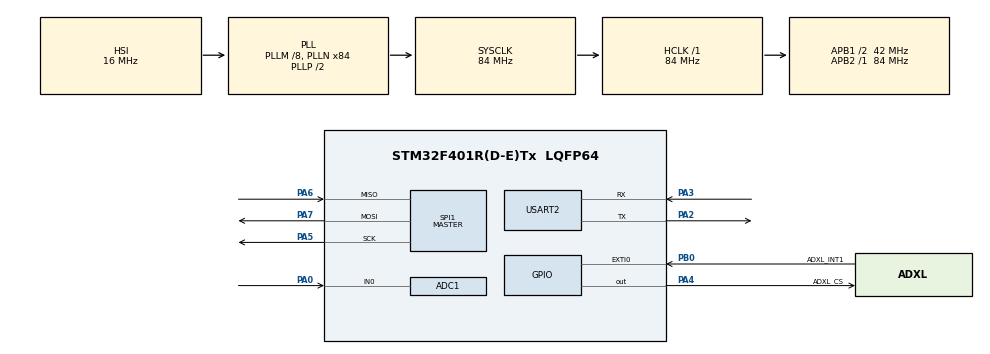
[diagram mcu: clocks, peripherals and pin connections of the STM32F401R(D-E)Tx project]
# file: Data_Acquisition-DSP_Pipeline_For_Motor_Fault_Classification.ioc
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ADC1.Channel-0\#ChannelRegularConversion=ADC_CHANNEL_0
ADC1.NbrOfConversionFlag=1
ADC1.Rank-0\#ChannelRegularConversion=1
ADC1.SamplingTime-0\#ChannelRegularConversion=ADC_SAMPLETIME_3CYCLES
ADC1.master=1
Mcu.Family=STM32F4
Mcu.Name=STM32F401R(D-E)Tx
Mcu.Package=LQFP64
NVIC.EXTI0_IRQn=true\:0\:0\:false\:false\:true\:true\:true\:true
NVIC.PriorityGroup=NVIC_PRIORITYGROUP_4
PA0-WKUP.Signal=ADCx_IN0
PA2.Mode=Asynchronous
PA2.Signal=USART2_TX
PA3.Mode=Asynchronous
PA3.Signal=USART2_RX
PA4.GPIO_Label=ADXL_CS
PA4.Signal=GPIO_Output
PA5.Mode=Full_Duplex_Master
PA5.Signal=SPI1_SCK
PA6.Mode=Full_Duplex_Master
PA6.Signal=SPI1_MISO
PA7.Mode=Full_Duplex_Master
PA7.Signal=SPI1_MOSI
PB0.GPIO_Label=ADXL_INT1
PB0.GPIO_PuPd=GPIO_PULLDOWN
PB0.Signal=GPXTI0
ProjectManager.HeapSize=0x200
ProjectManager.StackSize=0x400
ProjectManager.TargetToolchain=STM32CubeIDE
RCC.48MHZClocksFreq_Value=42000000
RCC.AHBFreq_Value=84000000
RCC.APB1CLKDivider=RCC_HCLK_DIV2
RCC.APB1Freq_Value=42000000
RCC.APB1TimFreq_Value=84000000
RCC.APB2Freq_Value=84000000
RCC.APB2TimFreq_Value=84000000
RCC.CortexFreq_Value=84000000
RCC.HCLKFreq_Value=84000000
RCC.HSE_VALUE=25000000
RCC.HSI_VALUE=16000000
RCC.LSE_VALUE=32768
RCC.PLLM=8
RCC.PLLN=84
RCC.SYSCLKFreq_VALUE=84000000
RCC.SYSCLKSource=RCC_SYSCLKSOURCE_PLLCLK
RCC.VCOOutputFreq_Value=168000000
SH.ADCx_IN0.0=ADC1_IN0,IN0
SPI1.BaudRatePrescaler=SPI_BAUDRATEPRESCALER_32
SPI1.CLKPhase=SPI_PHASE_2EDGE
SPI1.CLKPolarity=SPI_POLARITY_HIGH
SPI1.Direction=SPI_DIRECTION_2LINES
SPI1.Mode=SPI_MODE_MASTER
SPI1.VirtualType=VM_MASTER
USART2.VirtualMode=VM_ASYNC
board=custom

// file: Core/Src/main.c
/* USER CODE BEGIN Header */
/**
  ******************************************************************************
  * @file           : main.c
  * @brief          : Main program body
  ******************************************************************************
  * @attention
  *
  * Copyright (c) 2026 STMicroelectronics.
  * All rights reserved.
  *
  * This software is licensed under terms that can be found in the LICENSE file
  * in the root directory of this software component.
  * If no LICENSE file comes with this software, it is provided AS-IS.
  *
  ******************************************************************************
  */
/* USER CODE END Header */
#include "main.h"

/* USER CODE BEGIN Includes */
#include <stdio.h>
#include <stdbool.h>
#include <arm_math.h>
/* USER CODE END Includes */

/* USER CODE BEGIN PD */
#define CS_LOW() HAL_GPIO_WritePin(GPIOA, GPIO_PIN_4, GPIO_PIN_RESET)
#define CS_HIGH() HAL_GPIO_WritePin(GPIOA, GPIO_PIN_4, GPIO_PIN_SET)
/* USER CODE END PD */

ADC_HandleTypeDef hadc1;

SPI_HandleTypeDef hspi1;

UART_HandleTypeDef huart2;

/* USER CODE BEGIN PV */
#define BUFFER_SIZE 256

// Extracted features
float sensor_features[21];

// CMSIS DSP FFT Instance
arm_rfft_fast_instance_f32 fft_instance;

// Buffers for the DSP pipeline (using X-axis as our primary example)
float fft_input_buffer[BUFFER_SIZE];
float fft_output_buffer[BUFFER_SIZE];
float fft_magnitude_buffer[BUFFER_SIZE/2];

// Dual ping-pong buffers for X, Y, Z vibration data
float buffer_a[BUFFER_SIZE][4];
float buffer_b[BUFFER_SIZE][4];

volatile float(*write_ptr)[4] = buffer_a;  // ISR writes here
float (*processing_ptr)[4] = NULL;         // Main loop reads here

volatile uint16_t sample_index = 0;
volatile bool data_ready_flag = false;
volatile bool processing_buffer_full = false;

/* USER CODE END PV */

void SystemClock_Config(void);
static void MX_GPIO_Init(void);
static void MX_USART2_UART_Init(void);
static void MX_SPI1_Init(void);
static void MX_ADC1_Init(void);

/* USER CODE BEGIN 0 */
int _write(int file, char* ptr, int len){
	//Transmit the string over USART2 in blocking mode
	HAL_UART_Transmit(&huart2, (uint8_t*)ptr, len, HAL_MAX_DELAY);
	return len;
}

// ADXL345 Registers
#define ADXL345_DEVID_REG 0x00
#define ADXL345_BW_RATE     0x2C
#define ADXL345_POWER_CTL   0x2D
#define ADXL345_INT_ENABLE  0x2E
#define ADXL345_INT_MAP     0x2F
#define ADXL345_DATA_FORMAT 0x31
#define ADXL345_DATAX0      0x32

//Function to read a single register from adxl345
uint8_t ADXL_readRegister(uint8_t regAddr){
	uint8_t txData[2];
	uint8_t rxData[2];

	//ADXL Rquires bit 7 to be 1 for read operation
	txData[0] = regAddr | 0x80;
	txData[1] = 0x00;         // dummy byte to push further clock cycles

	CS_LOW();

	HAL_SPI_TransmitReceive(&hspi1, txData, rxData, 2, HAL_MAX_DELAY);

	CS_HIGH();

	// Sensor's response comes in the second byte.
	return rxData[1];
}

void ADXL_writeRegister(uint8_t regAddr, uint8_t value){
	uint8_t txData[2] = {regAddr & 0x7F, value};          // Clear bit 7 for write operation

	CS_LOW();
	HAL_SPI_Transmit(&hspi1, txData, 2, HAL_MAX_DELAY);
	CS_HIGH();

}

void ADXL_init(){
	ADXL_writeRegister(ADXL345_DATA_FORMAT, 0x0B); // Full resolution mode, +/-16g range
	ADXL_writeRegister(ADXL345_BW_RATE, 0x0D);     // Set Output Data Rate (ODR) to 800 Hz
    ADXL_writeRegister(ADXL345_INT_MAP, 0x00);     // Route DATA_READY interrupt to INT1 pin

    // Crucial : Switch to measurement mode
    ADXL_writeRegister(ADXL345_POWER_CTL, 0x08);   // Switch to Measurement Mode
    ADXL_writeRegister(ADXL345_INT_ENABLE, 0x80);  // Enable the DATA_READY interrupt

    // Crucial Step 2: Clear/Flush any pending boot-up interrupts
	uint8_t dummyTx[7] = { (ADXL345_DATAX0 | 0x80 | 0x40), 0, 0, 0, 0, 0, 0 };
	uint8_t dummyRx[7] = {0};

	CS_LOW();
	HAL_SPI_TransmitReceive(&hspi1, dummyTx, dummyRx, 7, HAL_MAX_DELAY);
	CS_HIGH();

}

void extractFeatures(uint8_t axis_idx, float(*raw_buffer)[4], float *output_array){

	float sum = 0.0f;
	float mean = 0.0f;

	// Zero-Centering the data
	for(int i=0; i<BUFFER_SIZE; i++){
		sum += processing_ptr[i][axis_idx];
	}

	mean = sum / (float) BUFFER_SIZE;

	//Subtracting the mean from every sample to eliminate gravity pull
	for(int i=0; i<BUFFER_SIZE; i++){
		fft_input_buffer[i] = processing_ptr[i][axis_idx] - mean;
	}

	// Hardware accelerated FFT & Magnitude calculation
	arm_rfft_fast_f32(&fft_instance, fft_input_buffer, fft_output_buffer, 0);
	arm_cmplx_mag_f32(fft_output_buffer, fft_magnitude_buffer, BUFFER_SIZE/2);

	// Time-Domain feature extracton
	float max_val = 0.0f;
	float min_val = 0.0f;
	float rms = 0.0f;

	uint32_t max_idx, min_idx;

	// Calculating RMS
	arm_rms_f32(fft_input_buffer, BUFFER_SIZE, &rms);

	// Calculating peak to peak
	arm_max_f32(fft_input_buffer, BUFFER_SIZE, &max_val, &max_idx);
	arm_min_f32(fft_input_buffer, BUFFER_SIZE, &min_val, &min_idx);

	float peak_to_peak = max_val - min_val;
	float crest_factor = (rms > 0.0001f) ? (max_val / rms) : 0.0f;

	// Frequency Domain Feature Extraction
	float low_freq = 0.0f;
	float mid_freq = 0.0f;
	float high_freq = 0.0f;

	// Bin 0 is DC Offset
	// Bin 1-10 is low freq
	for(int i=1; i<=10; i++){
		low_freq += fft_magnitude_buffer[i];
	}

	// Bin 11-40 is mid frequency
	for(int i=11; i<=40; i++){
		mid_freq += fft_magnitude_buffer[i];
	}

	// Bin 41-127 is high frequency
	for(int i=41; i<=127; i++){
		high_freq += fft_magnitude_buffer[i];
	}

	// Pack this into feature array
	uint8_t offset = axis_idx * 6;
	output_array[offset + 0] = rms;
	output_array[offset + 1] = peak_to_peak;
	output_array[offset + 2] = crest_factor;
	output_array[offset + 3] = low_freq;
    output_array[offset + 4] = mid_freq;
	output_array[offset + 5] = high_freq;

}

void extractCurrentFeatures(float (*raw_buffer)[4], float *output_array){
	float sum = 0.0f;
	float max_val = 0.0f;
	float min_val = 3.3f;

	float current_1d_buffer[BUFFER_SIZE];

	for (int i = 0; i < BUFFER_SIZE; i++) {
	    float val = raw_buffer[i][3]; // Index 3 is the current data
	    sum += val;
	    current_1d_buffer[i] = val;

	    if (val > max_val) max_val = val;
	    if (val < min_val) min_val = val;
	}

	// 1. Calculate Mean (Average Voltage)
	float mean_voltage = sum / (float)BUFFER_SIZE;

	// 2. Calculate RMS Voltage using DSP hardware
	float rms_voltage = 0.0f;
	arm_rms_f32(current_1d_buffer, BUFFER_SIZE, &rms_voltage);

    // 3. Calculate Peak-to-Peak Ripple
	float peak_to_peak = max_val - min_val;

    // Pack into indices 18, 19, and 20 of our global feature array
    output_array[18] = mean_voltage;
    output_array[19] = rms_voltage;
    output_array[20] = peak_to_peak;

}
/* USER CODE END 0 */

int main(void)
{

  /* MCU Configuration--------------------------------------------------------*/

  /* Reset of all peripherals, Initializes the Flash interface and the Systick. */
  HAL_Init();

  /* Configure the system clock */
  SystemClock_Config();

  /* Initialize all configured peripherals */
  MX_GPIO_Init();
  MX_USART2_UART_Init();
  MX_SPI1_Init();
  MX_ADC1_Init();
  /* USER CODE BEGIN 2 */

  CS_HIGH();     // For Assurance , explicitly keep the cs line high
  ADXL_init();   // Initializes sensor for 800Hz readings

  // Initialize the FFT-Engine
  arm_status status = arm_rfft_fast_init_f32(&fft_instance, BUFFER_SIZE);
  if(status != ARM_MATH_SUCCESS){
	  printf("DSP INIT ERROR: FFT Initialization failed\r\n");
  }

  /* USER CODE END 2 */

  /* Infinite loop */
  /* USER CODE BEGIN WHILE */
  printf("System booting...\r\n");
  while (1)
  {
	if(data_ready_flag){

		data_ready_flag = false;

		uint8_t regAddr = ADXL345_DATAX0 | 0x80 | 0x40;
		uint8_t txData[7] = {regAddr, 0, 0, 0, 0, 0, 0};
		uint8_t rxData[7] = { 0 };

		//Fast burst read of all three axes
		CS_LOW();
		HAL_SPI_TransmitReceive(&hspi1, txData, rxData, 7, HAL_MAX_DELAY);
		CS_HIGH();

		// Convert 2's complement data.
		int16_t x_raw = (int16_t)((rxData[2] << 8) | rxData[1]);
		int16_t y_raw = (int16_t)((rxData[4] << 8) | rxData[3]);
		int16_t z_raw = (int16_t)((rxData[6] << 8) | rxData[5]);

		write_ptr[sample_index][0] = x_raw * 0.0039f;
		write_ptr[sample_index][1] = y_raw * 0.0039f;
		write_ptr[sample_index][2] = z_raw * 0.0039f;

		// Poll ADC for current data
		HAL_ADC_Start(&hadc1);

		if(HAL_ADC_PollForConversion(&hadc1, 1) == HAL_OK){
			uint32_t adcValue = HAL_ADC_GetValue(&hadc1);

			float voltage = ((float)adcValue / 4095.0f) * 3.3f;

			write_ptr[sample_index][3] = voltage;
		}

		sample_index++;

		// Buffer management
		if(sample_index >= BUFFER_SIZE){
			sample_index = 0;

			if(write_ptr == buffer_a){
				write_ptr = buffer_b;
				processing_ptr = buffer_a;
			}else{
				write_ptr = buffer_a;
				processing_ptr = buffer_b;
			}

			processing_buffer_full = true;  // Signal DSP Phase to begin

		}
	}

	// Processing the full buffer

	if(processing_buffer_full){
		processing_buffer_full = false;

		// Executing the pipeline sequentionally
		extractFeatures(0, processing_ptr, sensor_features);
		extractFeatures(1, processing_ptr, sensor_features);
		extractFeatures(2, processing_ptr, sensor_features);

		// Extract the Current Features
		extractCurrentFeatures(processing_ptr, sensor_features);

		// Print out a summary to verify the 3-axis extraction
		printf("--- 3-Axis Extraction Complete ---\r\n");
		printf("X-Axis | RMS: %.2f | P-P: %.2f\r\n", sensor_features[0], sensor_features[1]);
		printf("Y-Axis | RMS: %.2f | P-P: %.2f\r\n", sensor_features[6], sensor_features[7]);
		printf("Z-Axis | RMS: %.2f | P-P: %.2f\r\n", sensor_features[12], sensor_features[13]);
		printf("----------------------------------\r\n\n");

		processing_ptr = NULL;
	}
    /* USER CODE END WHILE */

  }
}

void SystemClock_Config(void)
{
  RCC_OscInitTypeDef RCC_OscInitStruct = {0};
  RCC_ClkInitTypeDef RCC_ClkInitStruct = {0};

  /** Configure the main internal regulator output voltage
  */
  __HAL_RCC_PWR_CLK_ENABLE();
  __HAL_PWR_VOLTAGESCALING_CONFIG(PWR_REGULATOR_VOLTAGE_SCALE2);

  /** Initializes the RCC Oscillators according to the specified parameters
  * in the RCC_OscInitTypeDef structure.
  */
  RCC_OscInitStruct.OscillatorType = RCC_OSCILLATORTYPE_HSI;
  RCC_OscInitStruct.HSIState = RCC_HSI_ON;
  RCC_OscInitStruct.HSICalibrationValue = RCC_HSICALIBRATION_DEFAULT;
  RCC_OscInitStruct.PLL.PLLState = RCC_PLL_ON;
  RCC_OscInitStruct.PLL.PLLSource = RCC_PLLSOURCE_HSI;
  RCC_OscInitStruct.PLL.PLLM = 8;
  RCC_OscInitStruct.PLL.PLLN = 84;
  RCC_OscInitStruct.PLL.PLLP = RCC_PLLP_DIV2;
  RCC_OscInitStruct.PLL.PLLQ = 4;
  if (HAL_RCC_OscConfig(&RCC_OscInitStruct) != HAL_OK)
  {
    Error_Handler();
  }

  /** Initializes the CPU, AHB and APB buses clocks
  */
  RCC_ClkInitStruct.ClockType = RCC_CLOCKTYPE_HCLK|RCC_CLOCKTYPE_SYSCLK
                              |RCC_CLOCKTYPE_PCLK1|RCC_CLOCKTYPE_PCLK2;
  RCC_ClkInitStruct.SYSCLKSource = RCC_SYSCLKSOURCE_PLLCLK;
  RCC_ClkInitStruct.AHBCLKDivider = RCC_SYSCLK_DIV1;
  RCC_ClkInitStruct.APB1CLKDivider = RCC_HCLK_DIV2;
  RCC_ClkInitStruct.APB2CLKDivider = RCC_HCLK_DIV1;

  if (HAL_RCC_ClockConfig(&RCC_ClkInitStruct, FLASH_LATENCY_2) != HAL_OK)
  {
    Error_Handler();
  }
}

static void MX_ADC1_Init(void)
{

  ADC_ChannelConfTypeDef sConfig = {0};

  /** Configure the global features of the ADC (Clock, Resolution, Data Alignment and number of conversion)
  */
  hadc1.Instance = ADC1;
  hadc1.Init.ClockPrescaler = ADC_CLOCK_SYNC_PCLK_DIV4;
  hadc1.Init.Resolution = ADC_RESOLUTION_12B;
  hadc1.Init.ScanConvMode = DISABLE;
  hadc1.Init.ContinuousConvMode = DISABLE;
  hadc1.Init.DiscontinuousConvMode = DISABLE;
  hadc1.Init.ExternalTrigConvEdge = ADC_EXTERNALTRIGCONVEDGE_NONE;
  hadc1.Init.ExternalTrigConv = ADC_SOFTWARE_START;
  hadc1.Init.DataAlign = ADC_DATAALIGN_RIGHT;
  hadc1.Init.NbrOfConversion = 1;
  hadc1.Init.DMAContinuousRequests = DISABLE;
  hadc1.Init.EOCSelection = ADC_EOC_SINGLE_CONV;
  if (HAL_ADC_Init(&hadc1) != HAL_OK)
  {
    Error_Handler();
  }

  /** Configure for the selected ADC regular channel its corresponding rank in the sequencer and its sample time.
  */
  sConfig.Channel = ADC_CHANNEL_0;
  sConfig.Rank = 1;
  sConfig.SamplingTime = ADC_SAMPLETIME_56CYCLES;
  if (HAL_ADC_ConfigChannel(&hadc1, &sConfig) != HAL_OK)
  {
    Error_Handler();
  }

}

static void MX_SPI1_Init(void)
{

  /* SPI1 parameter configuration*/
  hspi1.Instance = SPI1;
  hspi1.Init.Mode = SPI_MODE_MASTER;
  hspi1.Init.Direction = SPI_DIRECTION_2LINES;
  hspi1.Init.DataSize = SPI_DATASIZE_8BIT;
  hspi1.Init.CLKPolarity = SPI_POLARITY_HIGH;
  hspi1.Init.CLKPhase = SPI_PHASE_2EDGE;
  hspi1.Init.NSS = SPI_NSS_SOFT;
  hspi1.Init.BaudRatePrescaler = SPI_BAUDRATEPRESCALER_32;
  hspi1.Init.FirstBit = SPI_FIRSTBIT_MSB;
  hspi1.Init.TIMode = SPI_TIMODE_DISABLE;
  hspi1.Init.CRCCalculation = SPI_CRCCALCULATION_DISABLE;
  hspi1.Init.CRCPolynomial = 10;
  if (HAL_SPI_Init(&hspi1) != HAL_OK)
  {
    Error_Handler();
  }

}

static void MX_USART2_UART_Init(void)
{

  huart2.Instance = USART2;
  huart2.Init.BaudRate = 115200;
  huart2.Init.WordLength = UART_WORDLENGTH_8B;
  huart2.Init.StopBits = UART_STOPBITS_1;
  huart2.Init.Parity = UART_PARITY_NONE;
  huart2.Init.Mode = UART_MODE_TX_RX;
  huart2.Init.HwFlowCtl = UART_HWCONTROL_NONE;
  huart2.Init.OverSampling = UART_OVERSAMPLING_16;
  if (HAL_UART_Init(&huart2) != HAL_OK)
  {
    Error_Handler();
  }

}

static void MX_GPIO_Init(void)
{
  GPIO_InitTypeDef GPIO_InitStruct = {0};

  /* GPIO Ports Clock Enable */
  __HAL_RCC_GPIOA_CLK_ENABLE();
  __HAL_RCC_GPIOB_CLK_ENABLE();

  /*Configure GPIO pin Output Level */
  HAL_GPIO_WritePin(ADXL_CS_GPIO_Port, ADXL_CS_Pin, GPIO_PIN_RESET);

  /*Configure GPIO pin : ADXL_CS_Pin */
  GPIO_InitStruct.Pin = ADXL_CS_Pin;
  GPIO_InitStruct.Mode = GPIO_MODE_OUTPUT_PP;
  GPIO_InitStruct.Pull = GPIO_NOPULL;
  GPIO_InitStruct.Speed = GPIO_SPEED_FREQ_LOW;
  HAL_GPIO_Init(ADXL_CS_GPIO_Port, &GPIO_InitStruct);

  /*Configure GPIO pin : ADXL_INT1_Pin */
  GPIO_InitStruct.Pin = ADXL_INT1_Pin;
  GPIO_InitStruct.Mode = GPIO_MODE_IT_RISING;
  GPIO_InitStruct.Pull = GPIO_PULLDOWN;
  HAL_GPIO_Init(ADXL_INT1_GPIO_Port, &GPIO_InitStruct);

  /* EXTI interrupt init*/
  HAL_NVIC_SetPriority(EXTI0_IRQn, 0, 0);
  HAL_NVIC_EnableIRQ(EXTI0_IRQn);

}

/* USER CODE BEGIN 4 */
void HAL_GPIO_EXTI_Callback(uint16_t GPIO_Pin){
	if(GPIO_Pin == GPIO_PIN_0){
		data_ready_flag = true;
	}
}
/* USER CODE END 4 */

void Error_Handler(void)
{
  __disable_irq();
  while (1)
  {
  }
}
